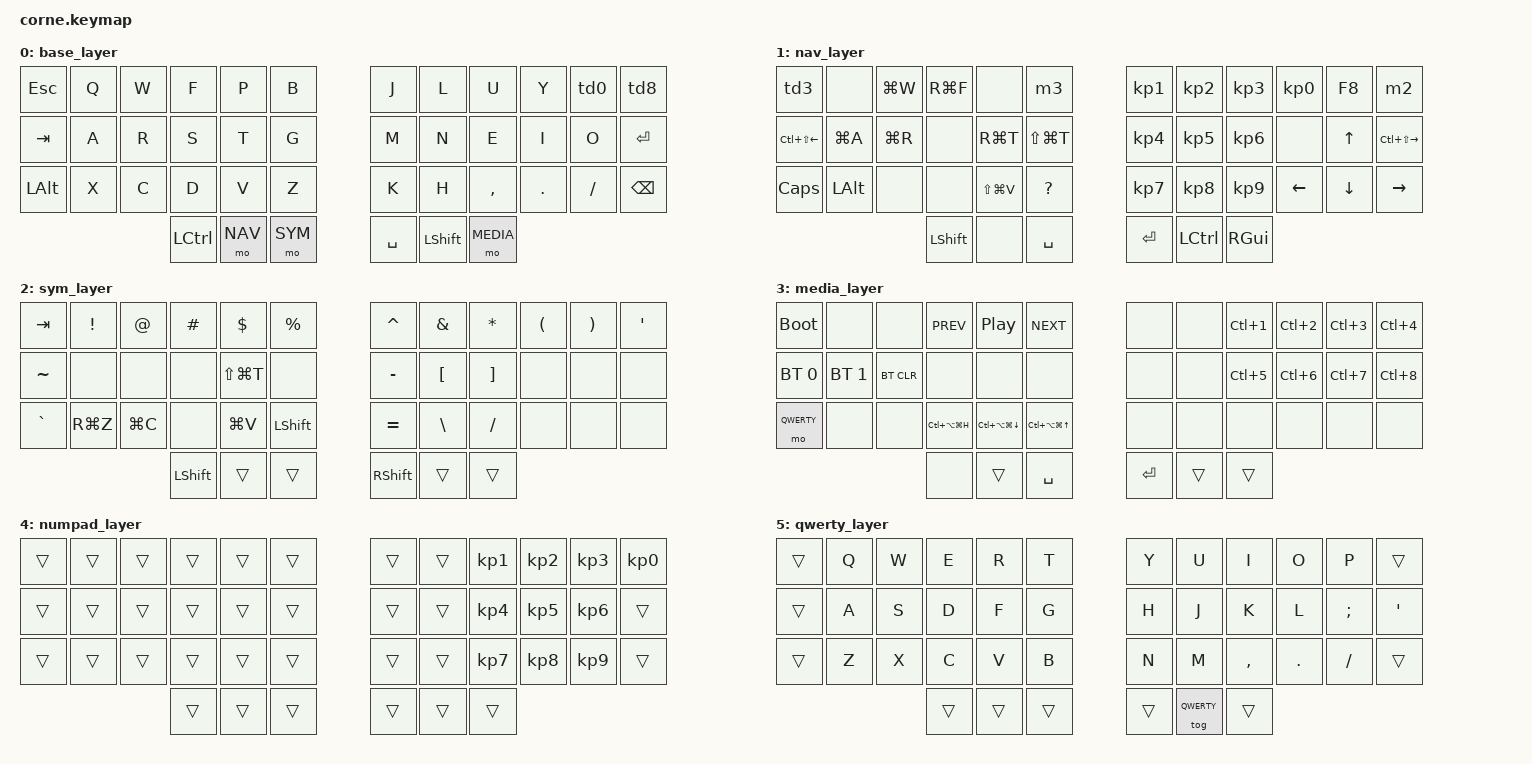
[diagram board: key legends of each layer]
/*
 * Copyright (c) 2020 The ZMK Contributors
 *
 * SPDX-License-Identifier: MIT
 */

#include <behaviors.dtsi>
#include <dt-bindings/zmk/keys.h>
#include <dt-bindings/zmk/bt.h>

#define BASE   0
#define NAV    1
#define SYM    2
#define MEDIA  3
#define NUMPAD 4
#define QWERTY 5

/ {
    behaviors {

        // ── Tap-Dance ──────────────────────────────────────────────
        // TD(0): tap=;  double-tap=:
        td0: td_semi {
            compatible = "zmk,behavior-tap-dance";
            #binding-cells = <0>;
            tapping-term-ms = <200>;
            bindings = <&kp SEMI>, <&kp COLON>;
        };

        // TD(3): tap=[  double-tap=[B (macro m4)
        td3: td_bracket {
            compatible = "zmk,behavior-tap-dance";
            #binding-cells = <0>;
            tapping-term-ms = <200>;
            bindings = <&kp LBKT>, <&m4>;
        };

        // TD(8): tap=-  double-tap=_
        td8: td_minus {
            compatible = "zmk,behavior-tap-dance";
            #binding-cells = <0>;
            tapping-term-ms = <200>;
            bindings = <&kp MINUS>, <&kp UNDER>;
        };

    };

    macros {
        // M0: Cmd+C (copy)
        m0: m_cmd_c {
            compatible = "zmk,behavior-macro";
            #binding-cells = <0>;
            bindings = <&kp LG(C)>;
        };
        // M1: Cmd+V (paste)
        m1: m_cmd_v {
            compatible = "zmk,behavior-macro";
            #binding-cells = <0>;
            bindings = <&kp LG(V)>;
        };
        // M2: Cmd+Shift+4 (screenshot area) — unbound, add to a layer as needed
        m2: m_screenshot {
            compatible = "zmk,behavior-macro";
            #binding-cells = <0>;
            bindings = <&kp LS(LG(N4))>;
        };
        // M3: Cmd+Space (Spotlight / Raycast) — unbound, add to a layer as needed
        m3: m_spotlight {
            compatible = "zmk,behavior-macro";
            #binding-cells = <0>;
            bindings = <&kp LG(SPACE)>;
        };
        // M4: type "[B"
        m4: m_lbkt_b {
            compatible = "zmk,behavior-macro";
            #binding-cells = <0>;
            bindings = <&kp LBKT &kp B>;
        };
    };

    combos {
        compatible = "zmk,combos";
        // MO(SYM) + SPACE held simultaneously → MO(MEDIA)
        // Corne positions: 38 = left thumb SYM (LT2), 39 = right thumb SPACE (RT0)
        combo_media {
            timeout-ms = <50>;
            key-positions = <38 39>;
            bindings = <&mo MEDIA>;
        };
    };

    keymap {
        compatible = "zmk,keymap";

        // ━━━━━━━━━━━━━━━━━━━━━━━━━━━━━━━━━━━━━━━━━━━━━━━━━━━━━━
        // Layer 0 — BASE  (Colemak-DH)
        // ━━━━━━━━━━━━━━━━━━━━━━━━━━━━━━━━━━━━━━━━━━━━━━━━━━━━━━
        // ┌─────┬───┬───┬───┬───┬───┐  ┌───┬───┬───┬───┬───┬───┐
        // │ ESC │ Q │ W │ F │ P │ B │  │ J │ L │ U │ Y │;/:│-/_│
        // │ TAB │ A │ R │ S │ T │ G │  │ M │ N │ E │ I │ O │ENT│
        // │LALT │ X │ C │ D │ V │ Z │  │ K │ H │ , │ . │ / │BSP│
        // └─────┴───┴───┼───┼───┼───┘  └───┼───┼───┼───┴───┴───┘
        //               │CTL│NAV│SYM│  │SPC│SFT│MED│
        //               └───┴───┴───┘  └───┴───┴───┘
        base_layer {
            bindings = <
                &kp ESC   &kp Q    &kp W    &kp F     &kp P     &kp B      &kp J     &kp L    &kp U     &kp Y    &td0      &td8
                &kp TAB   &kp A    &kp R    &kp S     &kp T     &kp G      &kp M     &kp N    &kp E     &kp I    &kp O     &kp RET
                &kp LALT  &kp X    &kp C    &kp D     &kp V     &kp Z      &kp K     &kp H    &kp COMMA &kp DOT  &kp FSLH  &kp BSPC
                                            &kp LCTRL &mo NAV   &mo SYM    &kp SPACE &kp LSHFT &mo MEDIA
            >;
        };

        // ━━━━━━━━━━━━━━━━━━━━━━━━━━━━━━━━━━━━━━━━━━━━━━━━━━━━━━
        // Layer 1 — NAV + Numpad
        // ━━━━━━━━━━━━━━━━━━━━━━━━━━━━━━━━━━━━━━━━━━━━━━━━━━━━━━
        nav_layer {
            bindings = <
                &td3             &none     &kp LG(W)  &kp RG(F) &none         &m3          &kp KP_N1 &kp KP_N2 &kp KP_N3 &kp KP_N0 &kp F8           &m2
                &kp LC(LS(LEFT)) &kp LG(A) &kp LG(R)  &none     &kp RG(T)     &kp LS(LG(T))  &kp KP_N4 &kp KP_N5 &kp KP_N6 &none     &kp UP           &kp LC(LS(RIGHT))
                &kp CAPS         &kp LALT  &none      &none     &kp LS(LG(V)) &kp QMARK      &kp KP_N7 &kp KP_N8 &kp KP_N9 &kp LEFT  &kp DOWN         &kp RIGHT
                                                      &kp LSHFT &none         &kp SPACE      &kp RET   &kp LCTRL &kp RGUI
            >;
        };

        // ━━━━━━━━━━━━━━━━━━━━━━━━━━━━━━━━━━━━━━━━━━━━━━━━━━━━━━
        // Layer 2 — SYMBOLS
        // ━━━━━━━━━━━━━━━━━━━━━━━━━━━━━━━━━━━━━━━━━━━━━━━━━━━━━━
        sym_layer {
            bindings = <
                &kp TAB    &kp EXCL  &kp AT    &kp HASH  &kp DLLR      &kp PRCNT   &kp CARET &kp AMPS &kp STAR &kp LPAR &kp RPAR &kp SQT
                &kp TILDE  &none     &none     &none     &kp LS(LG(T)) &none        &kp MINUS &kp LBKT &kp RBKT &none    &none    &none
                &kp GRAVE  &kp RG(Z) &kp LG(C) &none     &kp LG(V)     &kp LSHFT   &kp EQUAL &kp BSLH &kp FSLH &none    &none    &none
                                                          &kp LSHFT     &trans       &trans    &kp RSHFT &trans  &trans
            >;
        };

        // ━━━━━━━━━━━━━━━━━━━━━━━━━━━━━━━━━━━━━━━━━━━━━━━━━━━━━━
        // Layer 3 — MEDIA / Window Management
        // ━━━━━━━━━━━━━━━━━━━━━━━━━━━━━━━━━━━━━━━━━━━━━━━━━━━━━━
        media_layer {
            bindings = <
                &bootloader   &none         &none      &kp C_PREV        &kp C_PP             &kp C_NEXT         &none &none &kp LC(N1) &kp LC(N2) &kp LC(N3) &kp LC(N4)
                &bt BT_SEL 0  &bt BT_SEL 1  &bt BT_CLR &none             &none                &none              &none &none &kp LC(N5) &kp LC(N6) &kp LC(N7) &kp LC(N8)
                &mo QWERTY    &none         &none      &kp LC(LA(LG(H))) &kp LC(LA(LG(DOWN))) &kp LC(LA(LG(UP))) &none &none &none      &none      &none      &none
                                                                          &none                &trans             &kp SPACE &kp RET &trans &trans
            >;
        };

        // ━━━━━━━━━━━━━━━━━━━━━━━━━━━━━━━━━━━━━━━━━━━━━━━━━━━━━━
        // Layer 4 — NUMPAD (left: transparent, right: numpad)
        // ━━━━━━━━━━━━━━━━━━━━━━━━━━━━━━━━━━━━━━━━━━━━━━━━━━━━━━
        numpad_layer {
            bindings = <
                &trans &trans &trans &trans &trans &trans   &trans &trans &kp KP_N1 &kp KP_N2 &kp KP_N3 &kp KP_N0
                &trans &trans &trans &trans &trans &trans   &trans &trans &kp KP_N4 &kp KP_N5 &kp KP_N6 &trans
                &trans &trans &trans &trans &trans &trans   &trans &trans &kp KP_N7 &kp KP_N8 &kp KP_N9 &trans
                                           &trans &trans   &trans &trans &trans    &trans
            >;
        };

        // ━━━━━━━━━━━━━━━━━━━━━━━━━━━━━━━━━━━━━━━━━━━━━━━━━━━━━━
        // Layer 5 — QWERTY
        // Hold MEDIA layer bottom-left → activates this layer
        // Right thumb center: &tog QWERTY to lock/unlock
        // ━━━━━━━━━━━━━━━━━━━━━━━━━━━━━━━━━━━━━━━━━━━━━━━━━━━━━━
        qwerty_layer {
            bindings = <
                &trans &kp Q &kp W &kp E &kp R &kp T   &kp Y &kp U    &kp I     &kp O    &kp P    &trans
                &trans &kp A &kp S &kp D &kp F &kp G   &kp H &kp J    &kp K     &kp L    &kp SEMI &kp SQT
                &trans &kp Z &kp X &kp C &kp V &kp B   &kp N &kp M    &kp COMMA &kp DOT  &kp FSLH &trans
                                   &trans &trans &trans  &trans &tog QWERTY &trans
            >;
        };
    };
};
